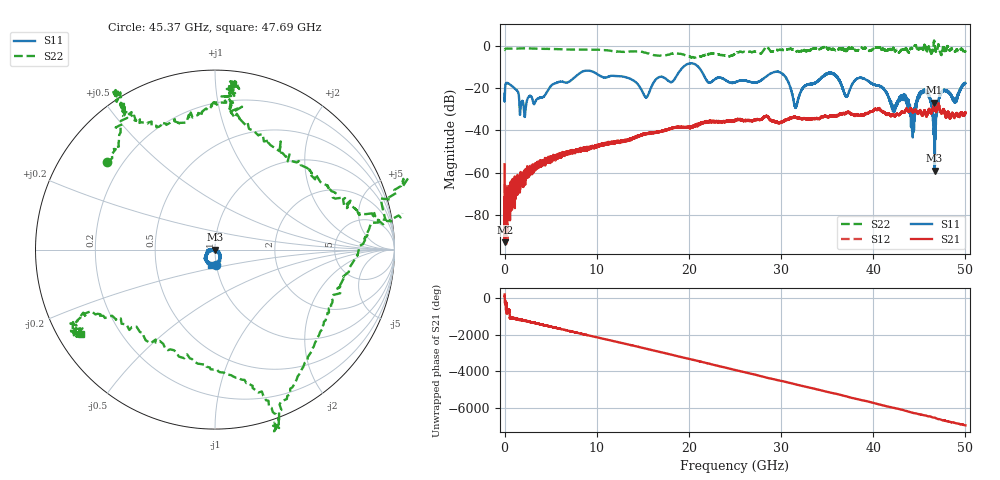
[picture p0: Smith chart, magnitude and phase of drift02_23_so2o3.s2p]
!Created with skrf (http://scikit-rf.org).
# Hz S RI R 50.0
!freq ReS11 ImS11 ReS21 ImS21 ReS12 ImS12 ReS22 ImS22
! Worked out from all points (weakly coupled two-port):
!   10001 points, 300 kHz to 50 GHz, reference 50 ohm
!   highest |S21| = -26.92 dB at 46.61 GHz (marker M1); lowest = -92.8 dB at 15.3 MHz (marker M2)
!   lowest |S11| = -59.0 dB at 46.66 GHz (marker M3), VSWR 1.00, Z = 49.9 - j0.0329 ohm
!   |S11| at or under -10 dB: start of sweep to 19.41 GHz; 21.0038 GHz to 21.00773 GHz (3.931 MHz wide, 0.0187 % of centre); 21.01 GHz to end of sweep
!   |S22| runs from -5.7 to 2.4 dB; largest |S21 - S12| = 0.0033
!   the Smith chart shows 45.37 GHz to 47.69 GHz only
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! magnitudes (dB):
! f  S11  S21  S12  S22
! 300 kHz  -22.8  -56.0  -65.3  -2.1
! 15.3 MHz  -24.9  -92.8  -78.7  -2.0
! 265.3 MHz  -17.6  -67.4  -70.1  -1.4
! 2.195 GHz  -33.4  -59.5  -60.2  -1.3
! 8.335 GHz  -12.5  -49.0  -49.3  -1.9
! 15.34 GHz  -24.4  -41.7  -41.3  -3.4
! 16.67 GHz  -15.1  -41.0  -40.7  -4.7
! 20.29 GHz  -8.4  -38.2  -38.1  -5.5
! 25 GHz  -17.4  -35.3  -35.4  -3.9
! 29.86 GHz  -12.6  -36.4  -36.4  -2.0
! 31.59 GHz  -29.1  -33.8  -34.0  -2.4
! 33.34 GHz  -18.2  -34.3  -34.5  -1.6
! 35.58 GHz  -13.2  -33.4  -33.3  -1.6
! 37.1 GHz  -24.2  -31.7  -31.6  -2.2
! 38.76 GHz  -15.3  -32.6  -32.7  -1.0
! 41.67 GHz  -24.3  -32.2  -32.1  -1.8
! 44.27 GHz  -35.6  -31.1  -31.1  -1.4
! 45.69 GHz  -22.2  -32.4  -32.4  -0.6
! 46.61 GHz  -40.6  -26.9  -26.9  2.4
! 46.66 GHz  -59.0  -28.3  -28.0  0.8
! 47.46 GHz  -21.8  -31.7  -31.8  -3.7
! 50 GHz  -17.7  -31.5  -31.4  -2.7
